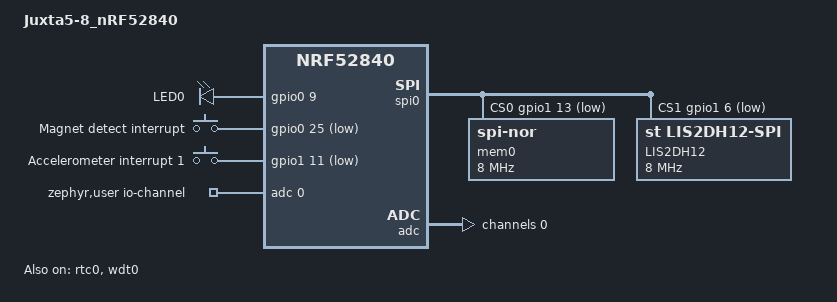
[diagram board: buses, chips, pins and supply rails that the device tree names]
/dts-v1/;
#include <nordic/nrf52840_qiaa.dtsi>
#include "Juxta5-8_nRF52840-pinctrl.dtsi"

/ {
	model = "Juxta5-8_nRF52840";
	compatible = "NeurotechHub,Juxta5-8_nRF52840";

	chosen {
		zephyr,sram = &sram0;
		zephyr,flash = &flash0;
		zephyr,code-partition = &slot0_partition;
	};

	leds {
		compatible = "gpio-leds";
		led0: led_0 {
			gpios = <&gpio0 9 GPIO_ACTIVE_HIGH>;
			label = "LED0";
		};
	};

	gpio_keys {
		compatible = "gpio-keys";
		magnet_sensor: magnet_sensor {
			gpios = <&gpio0 25 GPIO_ACTIVE_LOW>;
			label = "Magnet detect interrupt";
		};
		accel_int1: accel_int1 {
			gpios = <&gpio1 11 GPIO_ACTIVE_LOW>;
			label = "Accelerometer interrupt 1";
		};
	};

	aliases {
		led0 = &led0;
		magnet-sensor = &magnet_sensor;
		accel-int = &accel_int1;
		spi-mem = &mem0;
		spi-accel = &accel0;
		fuel-adc = &adc;
		rtc = &rtc0;
	};

	zephyr,user {
		io-channels = <&adc 0>;
	};
};

&gpio0 {
	status = "okay";
};

&gpio1 {
	status = "okay";
};

&gpiote {
	status = "okay";
};

&rtc0 {
	status = "okay";
};

&wdt0 {
	status = "okay";
};

&spi0 {
	compatible = "nordic,nrf-spim";
	status = "okay";
	pinctrl-0 = <&spi0_default>;
	pinctrl-1 = <&spi0_sleep>;
	pinctrl-names = "default", "sleep";
	cs-gpios = <&gpio1 13 GPIO_ACTIVE_LOW>, <&gpio1 6 GPIO_ACTIVE_LOW>;

	mem0: memory@0 {
		compatible = "jedec,spi-nor";
		reg = <0>;
		spi-max-frequency = <8000000>;
		size = <DT_SIZE_M(4)>;
	};

	accel0: accel@1 {
		compatible = "st,lis2dh12-spi";
		reg = <1>;
		spi-max-frequency = <8000000>;
		label = "LIS2DH12";
	};
};

&adc {
	status = "okay";
	#address-cells = <1>;
	#size-cells = <0>;

	channel@0 {
		reg = <0>;
		zephyr,gain = "ADC_GAIN_1_6";
		zephyr,reference = "ADC_REF_INTERNAL";
		zephyr,acquisition-time = <ADC_ACQ_TIME(ADC_ACQ_TIME_MICROSECONDS, 40)>;
		zephyr,input-positive = <NRF_SAADC_AIN6>;
		zephyr,resolution = <14>;
		zephyr,oversampling = <8>;
	};
};

&flash0 {
	partitions {
		compatible = "fixed-partitions";
		#address-cells = <1>;
		#size-cells = <1>;

		boot_partition: partition@0 {
			label = "mcuboot";
			reg = <0x00000000 DT_SIZE_K(48)>;
		};

		slot0_partition: partition@c000 {
			label = "image-0";
			reg = <0x0000c000 DT_SIZE_K(464)>;
		};

		slot1_partition: partition@80000 {
			label = "image-1";
			reg = <0x00080000 DT_SIZE_K(464)>;
		};

		storage_partition: partition@f0000 {
			label = "storage";
			reg = <0x000f0000 DT_SIZE_K(64)>;
		};
	};
};
